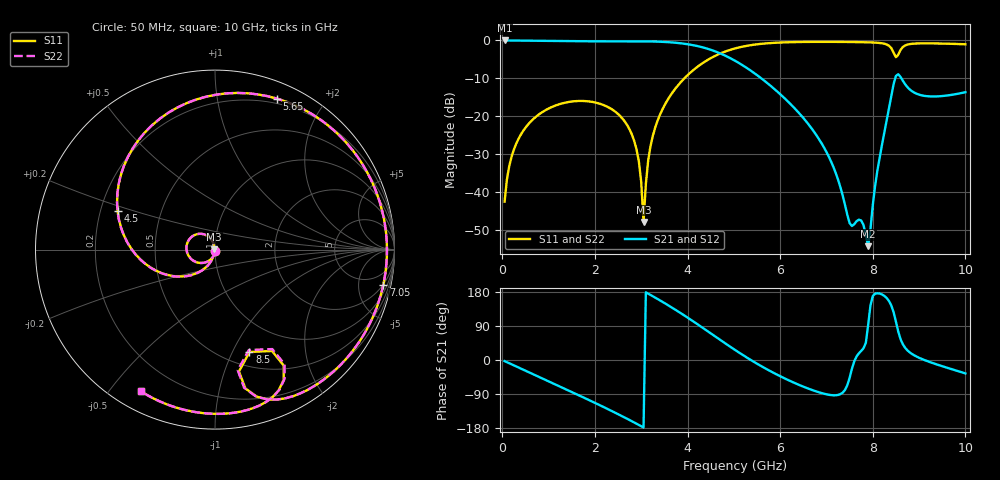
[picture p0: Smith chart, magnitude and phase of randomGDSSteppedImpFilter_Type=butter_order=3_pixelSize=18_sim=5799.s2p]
! freq	dB(S11)	phase(S11)	dB(S12)	phase(S12)
!  dB(S21)	phase(S21)	dB(S22)	phase(S22)
!S-par simulation data
#  GHz  S  DB  R 50
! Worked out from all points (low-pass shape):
!   200 points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, 50 MHz to 10 GHz, reference 50 ohm
!   highest |S21| = -0.01 dB at 50 MHz (marker M1); lowest = -54.2 dB at 7.9 GHz (marker M2)
!   |S21| within 3 dB of the highest: start of sweep to 4.623 GHz
!   lowest |S11| = -47.8 dB at 3.05 GHz (marker M3), VSWR 1.01, Z = 49.6 + j0.0967 ohm
!   |S11| at or under -10 dB: start of sweep to 3.931 GHz
!   |S22| runs from -49.9 to -0.4 dB; largest |S21 - S12| = 0
!   S11 on the Smith chart (normalised r, x): 50 MHz: 1.00, -0.02; 4.5 GHz: 0.27, +0.18; 5.65 GHz: 0.15, +1.48; 7.05 GHz: 1.90, -9.18; 8.5 GHz: 0.65, -1.17; 10 GHz: 0.08, -0.60
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0.05  -42.48 -91.4  -0.01 -2.9  -0.01 -2.9  -42.48 -91.4
0.2  -30.66 -101.0  -0.02 -11.4  -0.02 -11.4  -30.66 -101.0
0.5  -23.00 -118.7  -0.06 -28.2  -0.06 -28.2  -23.00 -118.7
1.75  -15.95 170.6  -0.23 -98.7  -0.23 -98.7  -15.95 170.5
2.75  -23.49 112.6  -0.22 -158.5  -0.22 -158.5  -23.49 111.9
2.95  -31.96 104.7  -0.23 -171.4  -0.23 -171.4  -31.99 102.5
3.05  -47.84 166.1  -0.24 -178.1  -0.24 -178.1  -49.87 159.8
3.15  -31.64 -104.2  -0.25 175.2  -0.25 175.2  -31.68 -101.9
3.4  -19.71 -116.0  -0.34 157.7  -0.34 157.7  -19.72 -115.3
4  -9.16 -160.3  -0.99 112.0  -0.99 112.0  -9.16 -160.0
4.5  -4.68 158.4  -2.46 70.4  -2.46 70.4  -4.68 158.5
5.05  -2.03 112.7  -5.52 24.6  -5.52 24.6  -2.03 112.7
5.65  -0.83 67.8  -10.53 -20.2  -10.53 -20.2  -0.83 67.8
6.7  -0.38 5.3  -23.52 -79.6  -23.52 -79.6  -0.38 5.3
7.05  -0.37 -11.9  -30.61 -91.7  -30.61 -91.7  -0.37 -12.0
7.5  -0.41 -32.4  -48.13 -47.1  -48.13 -47.1  -0.41 -32.4
7.75  -0.45 -43.3  -47.45 24.0  -47.45 24.0  -0.46 -43.4
7.9  -0.50 -49.9  -54.21 92.5  -54.21 92.5  -0.50 -50.0
8.35  -1.39 -74.1  -17.82 155.7  -17.82 155.7  -1.42 -74.5
8.5  -4.41 -71.4  -9.36 101.2  -9.36 101.2  -4.57 -71.4
9  -0.78 -81.0  -14.28 5.8  -14.28 5.8  -0.78 -80.8
10  -1.01 -117.7  -13.64 -35.4  -13.64 -35.4  -1.00 -117.6
